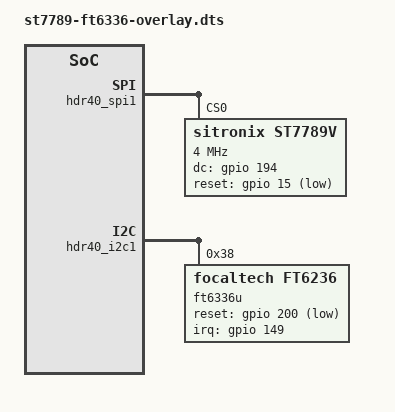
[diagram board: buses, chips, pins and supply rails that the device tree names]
/dts-v1/;
/plugin/;

/*
 * Jetson Nano 2GB (P3448-0003 + P3542-0000), J6 header wiring:
 *
 * ST7789V: MOSI=19, SCLK=23, CS0=24, DC=15, RESET=18
 * FT6336U: SDA=3, SCL=5, INT=29, RESET=31
 *
 * GPIO IDs are taken from NVIDIA's board header
 * tegra210-p3448-0003-p3542-0000.h:
 *   pin 15 = TEGRA_GPIO(Y,2) = 194
 *   pin 18 = TEGRA_GPIO(B,7) = 15
 *   pin 29 = TEGRA_GPIO(S,5) = 149
 *   pin 31 = TEGRA_GPIO(Z,0) = 200
 */

/ {
	compatible = "nvidia,p3542-0000+p3448-0003";
	overlay-name = "ST7789V framebuffer and FT6336U touchscreen";

	fragment@0 {
		target = <&pinmux>;
		__overlay__ {
			spi_lcd_pinmux: st7789-spi-pinmux {
				pin19 {
					nvidia,pins = "spi1_mosi_pc0";
					nvidia,function = "spi1";
					nvidia,pull = <1>;
					nvidia,tristate = <0>;
					nvidia,enable-input = <1>;
				};
				pin21 {
					nvidia,pins = "spi1_miso_pc1";
					nvidia,function = "spi1";
					nvidia,pull = <1>;
					nvidia,tristate = <0>;
					nvidia,enable-input = <1>;
				};
				pin23 {
					nvidia,pins = "spi1_sck_pc2";
					nvidia,function = "spi1";
					nvidia,pull = <1>;
					nvidia,tristate = <0>;
					nvidia,enable-input = <1>;
				};
				pin24 {
					nvidia,pins = "spi1_cs0_pc3";
					nvidia,function = "spi1";
					nvidia,pull = <2>;
					nvidia,tristate = <0>;
					nvidia,enable-input = <1>;
				};
				pin26 {
					nvidia,pins = "spi1_cs1_pc4";
					nvidia,function = "spi1";
					nvidia,pull = <2>;
					nvidia,tristate = <0>;
					nvidia,enable-input = <1>;
				};
			};

			lcd_gpio_pinmux: st7789-control-pinmux {
				dc-pin15 {
					nvidia,pins = "lcd_te_py2";
					nvidia,function = "rsvd1";
					nvidia,pull = <0>;
					nvidia,tristate = <0>;
					nvidia,enable-input = <0>;
				};
				reset-pin18 {
					nvidia,pins = "spi2_cs0_pb7";
					nvidia,function = "rsvd2";
					nvidia,pull = <2>;
					nvidia,tristate = <0>;
					nvidia,enable-input = <0>;
				};
			};

			touch_gpio_pinmux: ft6336-control-pinmux {
				int-pin29 {
					nvidia,pins = "cam_af_en_ps5";
					nvidia,function = "rsvd2";
					nvidia,pull = <2>;
					nvidia,tristate = <1>;
					nvidia,enable-input = <1>;
				};
				reset-pin31 {
					nvidia,pins = "pz0";
					nvidia,function = "rsvd1";
					nvidia,pull = <2>;
					nvidia,tristate = <0>;
					nvidia,enable-input = <0>;
				};
			};
		};
	};

	/* Disable NVIDIA's generic CS0 spidev placeholder. */
	fragment@1 {
		target-path = "/spi@7000d400/spi@0";
		__overlay__ {
			status = "disabled";
		};
	};

	fragment@2 {
		target = <&hdr40_spi1>;
		__overlay__ {
			#address-cells = <1>;
			#size-cells = <0>;
			status = "okay";
			pinctrl-names = "default";
			pinctrl-0 = <&spi_lcd_pinmux>;

			st7789v@0 {
				compatible = "sitronix,st7789v";
				reg = <0>;
				/* Conservative bring-up rate; raise after signal validation. */
				spi-max-frequency = <4000000>;
				buswidth = <8>;
				rotate = <90>;
				fps = <20>;
				pinctrl-names = "default";
				pinctrl-0 = <&lcd_gpio_pinmux>;
				dc-gpios = <&gpio 194 0>;
				reset-gpios = <&gpio 15 1>;
				status = "okay";
			};
		};
	};

	fragment@3 {
		target = <&hdr40_i2c1>;
		__overlay__ {
			#address-cells = <1>;
			#size-cells = <0>;
			status = "okay";

			ft6336u@38 {
				/* The NVIDIA 4.9 EDT driver exposes the compatible FT6236 path. */
				compatible = "focaltech,ft6236";
				reg = <0x38>;
				interrupt-parent = <&gpio>;
				interrupts = <149 2>;
				reset-gpios = <&gpio 200 1>;
				pinctrl-names = "default";
				pinctrl-0 = <&touch_gpio_pinmux>;
				touchscreen-size-x = <240>;
				touchscreen-size-y = <320>;
				status = "okay";
			};
		};
	};
};
